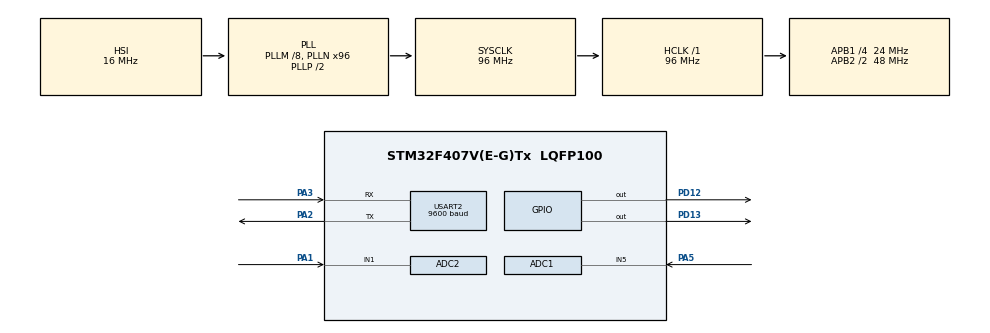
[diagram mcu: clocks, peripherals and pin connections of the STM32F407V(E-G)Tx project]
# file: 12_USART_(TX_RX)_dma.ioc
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ADC1.Channel-0\#ChannelRegularConversion=ADC_CHANNEL_VREFINT
ADC1.Channel-1\#ChannelRegularConversion=ADC_CHANNEL_5
ADC1.Channel-2\#ChannelRegularConversion=ADC_CHANNEL_TEMPSENSOR
ADC1.ClockPrescaler=ADC_CLOCK_SYNC_PCLK_DIV2
ADC1.ContinuousConvMode=ENABLE
ADC1.DMAContinuousRequests=ENABLE
ADC1.DataAlign=ADC_DATAALIGN_RIGHT
ADC1.DiscontinuousConvMode=DISABLE
ADC1.EOCSelection=ADC_EOC_SINGLE_CONV
ADC1.EnableAnalogWatchDog=false
ADC1.ExternalTrigConv=ADC_SOFTWARE_START
ADC1.ExternalTrigConvEdge=ADC_EXTERNALTRIGCONVEDGE_NONE
ADC1.InjNumberOfConversion=0
ADC1.NbrOfConversion=3
ADC1.NbrOfConversionFlag=1
ADC1.Rank-0\#ChannelRegularConversion=1
ADC1.Rank-1\#ChannelRegularConversion=2
ADC1.Rank-2\#ChannelRegularConversion=3
ADC1.Resolution=ADC_RESOLUTION_12B
ADC1.SamplingTime-0\#ChannelRegularConversion=ADC_SAMPLETIME_480CYCLES
ADC1.SamplingTime-1\#ChannelRegularConversion=ADC_SAMPLETIME_480CYCLES
ADC1.SamplingTime-2\#ChannelRegularConversion=ADC_SAMPLETIME_480CYCLES
ADC1.ScanConvMode=ENABLE
ADC1.master=1
ADC2.Channel-0\#ChannelRegularConversion=ADC_CHANNEL_1
ADC2.ContinuousConvMode=ENABLE
ADC2.DMAContinuousRequests=ENABLE
ADC2.NbrOfConversionFlag=1
ADC2.Rank-0\#ChannelRegularConversion=1
ADC2.SamplingTime-0\#ChannelRegularConversion=ADC_SAMPLETIME_480CYCLES
Dma.ADC1.3.Direction=DMA_PERIPH_TO_MEMORY
Dma.ADC1.3.FIFOMode=DMA_FIFOMODE_DISABLE
Dma.ADC1.3.Instance=DMA2_Stream0
Dma.ADC1.3.MemDataAlignment=DMA_MDATAALIGN_HALFWORD
Dma.ADC1.3.MemInc=DMA_MINC_ENABLE
Dma.ADC1.3.Mode=DMA_CIRCULAR
Dma.ADC1.3.PeriphDataAlignment=DMA_PDATAALIGN_HALFWORD
Dma.ADC1.3.PeriphInc=DMA_PINC_DISABLE
Dma.ADC1.3.Priority=DMA_PRIORITY_LOW
Dma.ADC2.0.Direction=DMA_PERIPH_TO_MEMORY
Dma.ADC2.0.FIFOMode=DMA_FIFOMODE_DISABLE
Dma.ADC2.0.Instance=DMA2_Stream2
Dma.ADC2.0.MemDataAlignment=DMA_MDATAALIGN_HALFWORD
Dma.ADC2.0.MemInc=DMA_MINC_ENABLE
Dma.ADC2.0.Mode=DMA_CIRCULAR
Dma.ADC2.0.PeriphDataAlignment=DMA_PDATAALIGN_HALFWORD
Dma.ADC2.0.PeriphInc=DMA_PINC_DISABLE
Dma.ADC2.0.Priority=DMA_PRIORITY_LOW
Dma.Request0=ADC2
Dma.Request1=USART2_RX
Dma.Request2=USART2_TX
Dma.Request3=ADC1
Dma.USART2_RX.1.Direction=DMA_PERIPH_TO_MEMORY
Dma.USART2_RX.1.FIFOMode=DMA_FIFOMODE_DISABLE
Dma.USART2_RX.1.Instance=DMA1_Stream5
Dma.USART2_RX.1.MemDataAlignment=DMA_MDATAALIGN_BYTE
Dma.USART2_RX.1.MemInc=DMA_MINC_ENABLE
Dma.USART2_RX.1.Mode=DMA_CIRCULAR
Dma.USART2_RX.1.PeriphDataAlignment=DMA_PDATAALIGN_BYTE
Dma.USART2_RX.1.PeriphInc=DMA_PINC_DISABLE
Dma.USART2_RX.1.Priority=DMA_PRIORITY_LOW
Dma.USART2_TX.2.Direction=DMA_MEMORY_TO_PERIPH
Dma.USART2_TX.2.FIFOMode=DMA_FIFOMODE_DISABLE
Dma.USART2_TX.2.Instance=DMA1_Stream6
Dma.USART2_TX.2.MemDataAlignment=DMA_MDATAALIGN_BYTE
Dma.USART2_TX.2.MemInc=DMA_MINC_ENABLE
Dma.USART2_TX.2.Mode=DMA_CIRCULAR
Dma.USART2_TX.2.PeriphDataAlignment=DMA_PDATAALIGN_BYTE
Dma.USART2_TX.2.PeriphInc=DMA_PINC_DISABLE
Dma.USART2_TX.2.Priority=DMA_PRIORITY_LOW
Mcu.Family=STM32F4
Mcu.Name=STM32F407V(E-G)Tx
Mcu.Package=LQFP100
NVIC.DMA1_Stream5_IRQn=true\:0\:0\:false\:false\:true\:false
NVIC.DMA1_Stream6_IRQn=true\:0\:0\:false\:false\:true\:false
NVIC.DMA2_Stream0_IRQn=true\:0\:0\:false\:false\:true\:false
NVIC.DMA2_Stream2_IRQn=true\:0\:0\:false\:false\:true\:false
NVIC.PriorityGroup=NVIC_PRIORITYGROUP_4
PA1.Signal=ADCx_IN1
PA13.Mode=Serial_Wire
PA13.Signal=SYS_JTMS-SWDIO
PA14.Mode=Serial_Wire
PA14.Signal=SYS_JTCK-SWCLK
PA2.Mode=Asynchronous
PA2.Signal=USART2_TX
PA3.Mode=Asynchronous
PA3.Signal=USART2_RX
PA5.Signal=ADCx_IN5
PD12.Signal=GPIO_Output
PD13.Signal=GPIO_Output
ProjectManager.HeapSize=0x200
ProjectManager.StackSize=0x400
ProjectManager.TargetToolchain=MDK-ARM V5
RCC.48MHZClocksFreq_Value=48000000
RCC.AHBFreq_Value=96000000
RCC.APB1CLKDivider=RCC_HCLK_DIV4
RCC.APB1Freq_Value=24000000
RCC.APB1TimFreq_Value=48000000
RCC.APB2CLKDivider=RCC_HCLK_DIV2
RCC.APB2Freq_Value=48000000
RCC.APB2TimFreq_Value=96000000
RCC.CortexFreq_Value=96000000
RCC.HCLKFreq_Value=96000000
RCC.HSE_VALUE=25000000
RCC.HSI_VALUE=16000000
RCC.LSE_VALUE=32768
RCC.PLLM=8
RCC.PLLN=96
RCC.SYSCLKFreq_VALUE=96000000
RCC.SYSCLKSource=RCC_SYSCLKSOURCE_PLLCLK
RCC.VCOOutputFreq_Value=192000000
SH.ADCx_IN1.0=ADC2_IN1,IN1
SH.ADCx_IN5.0=ADC1_IN5,IN5
USART2.BaudRate=9600
USART2.VirtualMode=VM_ASYNC
VP_ADC1_TempSens_Input.Mode=IN-TempSens
VP_ADC1_Vref_Input.Mode=IN-Vrefint
board=12_USART_(TX_RX)_dma

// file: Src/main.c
/**
  ******************************************************************************
  * File Name          : main.c
  * Description        : Main program body
  ******************************************************************************
  ** This notice applies to any and all portions of this file
  * that are not between comment pairs USER CODE BEGIN and
  * USER CODE END. Other portions of this file, whether
  * inserted by the user or by software development tools
  * are owned by their respective copyright owners.
  *
  * COPYRIGHT(c) 2018 STMicroelectronics
  *
  * Redistribution and use in source and binary forms, with or without modification,
  * are permitted provided that the following conditions are met:
  *   1. Redistributions of source code must retain the above copyright notice,
  *      this list of conditions and the following disclaimer.
  *   2. Redistributions in binary form must reproduce the above copyright notice,
  *      this list of conditions and the following disclaimer in the documentation
  *      and/or other materials provided with the distribution.
  *   3. Neither the name of STMicroelectronics nor the names of its contributors
  *      may be used to endorse or promote products derived from this software
  *      without specific prior written permission.
  *
  * THIS SOFTWARE IS PROVIDED BY THE COPYRIGHT HOLDERS AND CONTRIBUTORS "AS IS"
  * AND ANY EXPRESS OR IMPLIED WARRANTIES, INCLUDING, BUT NOT LIMITED TO, THE
  * IMPLIED WARRANTIES OF MERCHANTABILITY AND FITNESS FOR A PARTICULAR PURPOSE ARE
  * DISCLAIMED. IN NO EVENT SHALL THE COPYRIGHT HOLDER OR CONTRIBUTORS BE LIABLE
  * FOR ANY DIRECT, INDIRECT, INCIDENTAL, SPECIAL, EXEMPLARY, OR CONSEQUENTIAL
  * DAMAGES (INCLUDING, BUT NOT LIMITED TO, PROCUREMENT OF SUBSTITUTE GOODS OR
  * SERVICES; LOSS OF USE, DATA, OR PROFITS; OR BUSINESS INTERRUPTION) HOWEVER
  * CAUSED AND ON ANY THEORY OF LIABILITY, WHETHER IN CONTRACT, STRICT LIABILITY,
  * OR TORT (INCLUDING NEGLIGENCE OR OTHERWISE) ARISING IN ANY WAY OUT OF THE USE
  * OF THIS SOFTWARE, EVEN IF ADVISED OF THE POSSIBILITY OF SUCH DAMAGE.
  *
  ******************************************************************************
  */
#include "main.h"
#include "stm32f4xx_hal.h"

/* USER CODE BEGIN Includes */
//  ADC KISMI
#define VREFIN_Cal ((uint16_t*)((uint32_t)0x1FFF7A2A)) // Vrefin calibration degeri memoriden okunur
#define V25 (float)0.76     // volt
#define avg_slope (float) 0.0025   //    volt/Centigrade

uint16_t adc1_data[3],adc2_data[1];

float Vref=0,Vadc1_ch5=0,Vsense=0, temperature=0,Vadc2_ch1=0;

// USART KISMI

int i=0; // data1,2 ... diye göstermek için
char deger[40];  // tx_buffer
char rx[6],a,b,c,d,e,f; // rx ise de rx_buffer

/* USER CODE END Includes */

ADC_HandleTypeDef hadc1;
ADC_HandleTypeDef hadc2;
DMA_HandleTypeDef hdma_adc1;
DMA_HandleTypeDef hdma_adc2;

UART_HandleTypeDef huart2;
DMA_HandleTypeDef hdma_usart2_rx;
DMA_HandleTypeDef hdma_usart2_tx;

/* USER CODE BEGIN PV */
/* Private variables ---------------------------------------------------------*/

/* USER CODE END PV */

void SystemClock_Config(void);
static void MX_GPIO_Init(void);
static void MX_DMA_Init(void);
static void MX_ADC1_Init(void);
static void MX_ADC2_Init(void);
static void MX_USART2_UART_Init(void);

/* USER CODE BEGIN PFP */
/* Private function prototypes -----------------------------------------------*/
void HAL_ADC_ConvCpltCallback(ADC_HandleTypeDef* hadc)
{

    Vref=(float)3.3*(*VREFIN_Cal)/adc1_data[0];
	  Vadc1_ch5=Vref*adc1_data[1]/4095;
	  Vsense=Vref*adc1_data[2]/4095;
    Vadc2_ch1=Vref*adc2_data[0]/4095;

		temperature=(Vsense-V25)/avg_slope+25;

}

void HAL_UART_TxCpltCallback(UART_HandleTypeDef *huart)
{

  HAL_GPIO_TogglePin(GPIOD,GPIO_PIN_12);
	// herbir data aktarildiginda aktif olacak

	i++; // herbir data aktarildiginda artirilacak olacak
	if(i==4) i=0;

	HAL_UART_DMA_Tx_Stop(&huart2); // bu fonkdsyonu biz yazdik
	// eger bu olmasa idi hem rx hem tx stop edilirdi..
	// kodlar   uart... .h ve .c ve mevcut
	// bu kod yazilmasa idi önceden gönderilen veriden bilgilerde gelirdi
	// o yüzden strt ettik gibi bisi......
	// ard arda data göndermede sikinti oldugu için bu kullanildi
	// tek data da sikinti yokta circular oldugu için problem
}

void HAL_UART_RxCpltCallback(UART_HandleTypeDef *huart)
{

   HAL_GPIO_TogglePin(GPIOD,GPIO_PIN_13);

}

/* USER CODE END PFP */

int main(void)
{

  /* MCU Configuration----------------------------------------------------------*/

  /* Reset of all peripherals, Initializes the Flash interface and the Systick. */
  HAL_Init();

  /* Configure the system clock */
  SystemClock_Config();

  /* Initialize all configured peripherals */
  MX_GPIO_Init();
  MX_DMA_Init();
  MX_ADC1_Init();
  MX_ADC2_Init();
  MX_USART2_UART_Init();

  /* USER CODE BEGIN 2 */
  HAL_ADC_Start_DMA(&hadc1,(uint32_t*)adc1_data, 3);
	HAL_ADC_Start_DMA(&hadc2,(uint32_t*)adc2_data, 1);
  /* USER CODE END 2 */

  /* Infinite loop */
  while (1)
  {

		HAL_Delay(1000);

		float value[4];
		value[0]=Vref;
		value[1]=Vadc1_ch5;
		value[2]=Vadc2_ch1;
		value[3]=temperature;

		HAL_UART_Transmit_DMA(&huart2,(uint8_t*)deger,sprintf(deger,"\n%d.value=%4.2f",i+1,value[i]));

		HAL_UART_Receive_DMA(&huart2,(uint8_t*)rx,6);
		// 6 boyutlu dizi ile 6 tane eleman alacagiz....
		HAL_Delay(10);

		a=rx[0];
		b=rx[1];
		c=rx[2];
		d=rx[3];
		e=rx[4];
		f=rx[5];

		if(rx[0]=='1' && rx[1]=='2'&& rx[2]=='3')
		HAL_GPIO_TogglePin(GPIOD,GPIO_PIN_13);

  }

}

/** System Clock Configuration
*/
void SystemClock_Config(void)
{

  RCC_OscInitTypeDef RCC_OscInitStruct;
  RCC_ClkInitTypeDef RCC_ClkInitStruct;

    /**Configure the main internal regulator output voltage
    */
  __HAL_RCC_PWR_CLK_ENABLE();

  __HAL_PWR_VOLTAGESCALING_CONFIG(PWR_REGULATOR_VOLTAGE_SCALE1);

    /**Initializes the CPU, AHB and APB busses clocks
    */
  RCC_OscInitStruct.OscillatorType = RCC_OSCILLATORTYPE_HSI;
  RCC_OscInitStruct.HSIState = RCC_HSI_ON;
  RCC_OscInitStruct.HSICalibrationValue = 16;
  RCC_OscInitStruct.PLL.PLLState = RCC_PLL_ON;
  RCC_OscInitStruct.PLL.PLLSource = RCC_PLLSOURCE_HSI;
  RCC_OscInitStruct.PLL.PLLM = 8;
  RCC_OscInitStruct.PLL.PLLN = 96;
  RCC_OscInitStruct.PLL.PLLP = RCC_PLLP_DIV2;
  RCC_OscInitStruct.PLL.PLLQ = 4;
  if (HAL_RCC_OscConfig(&RCC_OscInitStruct) != HAL_OK)
  {
    _Error_Handler(__FILE__, __LINE__);
  }

    /**Initializes the CPU, AHB and APB busses clocks
    */
  RCC_ClkInitStruct.ClockType = RCC_CLOCKTYPE_HCLK|RCC_CLOCKTYPE_SYSCLK
                              |RCC_CLOCKTYPE_PCLK1|RCC_CLOCKTYPE_PCLK2;
  RCC_ClkInitStruct.SYSCLKSource = RCC_SYSCLKSOURCE_PLLCLK;
  RCC_ClkInitStruct.AHBCLKDivider = RCC_SYSCLK_DIV1;
  RCC_ClkInitStruct.APB1CLKDivider = RCC_HCLK_DIV4;
  RCC_ClkInitStruct.APB2CLKDivider = RCC_HCLK_DIV2;

  if (HAL_RCC_ClockConfig(&RCC_ClkInitStruct, FLASH_LATENCY_3) != HAL_OK)
  {
    _Error_Handler(__FILE__, __LINE__);
  }

    /**Configure the Systick interrupt time
    */
  HAL_SYSTICK_Config(HAL_RCC_GetHCLKFreq()/1000);

    /**Configure the Systick
    */
  HAL_SYSTICK_CLKSourceConfig(SYSTICK_CLKSOURCE_HCLK);

  /* SysTick_IRQn interrupt configuration */
  HAL_NVIC_SetPriority(SysTick_IRQn, 0, 0);
}

/* ADC1 init function */
static void MX_ADC1_Init(void)
{

  ADC_ChannelConfTypeDef sConfig;

    /**Configure the global features of the ADC (Clock, Resolution, Data Alignment and number of conversion)
    */
  hadc1.Instance = ADC1;
  hadc1.Init.ClockPrescaler = ADC_CLOCK_SYNC_PCLK_DIV2;
  hadc1.Init.Resolution = ADC_RESOLUTION_12B;
  hadc1.Init.ScanConvMode = ENABLE;
  hadc1.Init.ContinuousConvMode = ENABLE;
  hadc1.Init.DiscontinuousConvMode = DISABLE;
  hadc1.Init.ExternalTrigConvEdge = ADC_EXTERNALTRIGCONVEDGE_NONE;
  hadc1.Init.ExternalTrigConv = ADC_SOFTWARE_START;
  hadc1.Init.DataAlign = ADC_DATAALIGN_RIGHT;
  hadc1.Init.NbrOfConversion = 3;
  hadc1.Init.DMAContinuousRequests = ENABLE;
  hadc1.Init.EOCSelection = ADC_EOC_SINGLE_CONV;
  if (HAL_ADC_Init(&hadc1) != HAL_OK)
  {
    _Error_Handler(__FILE__, __LINE__);
  }

    /**Configure for the selected ADC regular channel its corresponding rank in the sequencer and its sample time.
    */
  sConfig.Channel = ADC_CHANNEL_VREFINT;
  sConfig.Rank = 1;
  sConfig.SamplingTime = ADC_SAMPLETIME_480CYCLES;
  if (HAL_ADC_ConfigChannel(&hadc1, &sConfig) != HAL_OK)
  {
    _Error_Handler(__FILE__, __LINE__);
  }

    /**Configure for the selected ADC regular channel its corresponding rank in the sequencer and its sample time.
    */
  sConfig.Channel = ADC_CHANNEL_5;
  sConfig.Rank = 2;
  if (HAL_ADC_ConfigChannel(&hadc1, &sConfig) != HAL_OK)
  {
    _Error_Handler(__FILE__, __LINE__);
  }

    /**Configure for the selected ADC regular channel its corresponding rank in the sequencer and its sample time.
    */
  sConfig.Channel = ADC_CHANNEL_TEMPSENSOR;
  sConfig.Rank = 3;
  if (HAL_ADC_ConfigChannel(&hadc1, &sConfig) != HAL_OK)
  {
    _Error_Handler(__FILE__, __LINE__);
  }

}

/* ADC2 init function */
static void MX_ADC2_Init(void)
{

  ADC_ChannelConfTypeDef sConfig;

    /**Configure the global features of the ADC (Clock, Resolution, Data Alignment and number of conversion)
    */
  hadc2.Instance = ADC2;
  hadc2.Init.ClockPrescaler = ADC_CLOCK_SYNC_PCLK_DIV2;
  hadc2.Init.Resolution = ADC_RESOLUTION_12B;
  hadc2.Init.ScanConvMode = DISABLE;
  hadc2.Init.ContinuousConvMode = ENABLE;
  hadc2.Init.DiscontinuousConvMode = DISABLE;
  hadc2.Init.ExternalTrigConvEdge = ADC_EXTERNALTRIGCONVEDGE_NONE;
  hadc2.Init.ExternalTrigConv = ADC_SOFTWARE_START;
  hadc2.Init.DataAlign = ADC_DATAALIGN_RIGHT;
  hadc2.Init.NbrOfConversion = 1;
  hadc2.Init.DMAContinuousRequests = ENABLE;
  hadc2.Init.EOCSelection = ADC_EOC_SINGLE_CONV;
  if (HAL_ADC_Init(&hadc2) != HAL_OK)
  {
    _Error_Handler(__FILE__, __LINE__);
  }

    /**Configure for the selected ADC regular channel its corresponding rank in the sequencer and its sample time.
    */
  sConfig.Channel = ADC_CHANNEL_1;
  sConfig.Rank = 1;
  sConfig.SamplingTime = ADC_SAMPLETIME_480CYCLES;
  if (HAL_ADC_ConfigChannel(&hadc2, &sConfig) != HAL_OK)
  {
    _Error_Handler(__FILE__, __LINE__);
  }

}

/* USART2 init function */
static void MX_USART2_UART_Init(void)
{

  huart2.Instance = USART2;
  huart2.Init.BaudRate = 9600;
  huart2.Init.WordLength = UART_WORDLENGTH_8B;
  huart2.Init.StopBits = UART_STOPBITS_1;
  huart2.Init.Parity = UART_PARITY_NONE;
  huart2.Init.Mode = UART_MODE_TX_RX;
  huart2.Init.HwFlowCtl = UART_HWCONTROL_NONE;
  huart2.Init.OverSampling = UART_OVERSAMPLING_16;
  if (HAL_UART_Init(&huart2) != HAL_OK)
  {
    _Error_Handler(__FILE__, __LINE__);
  }

}

static void MX_DMA_Init(void)
{
  /* DMA controller clock enable */
  __HAL_RCC_DMA2_CLK_ENABLE();
  __HAL_RCC_DMA1_CLK_ENABLE();

  /* DMA interrupt init */
  /* DMA1_Stream5_IRQn interrupt configuration */
  HAL_NVIC_SetPriority(DMA1_Stream5_IRQn, 0, 0);
  HAL_NVIC_EnableIRQ(DMA1_Stream5_IRQn);
  /* DMA1_Stream6_IRQn interrupt configuration */
  HAL_NVIC_SetPriority(DMA1_Stream6_IRQn, 0, 0);
  HAL_NVIC_EnableIRQ(DMA1_Stream6_IRQn);
  /* DMA2_Stream0_IRQn interrupt configuration */
  HAL_NVIC_SetPriority(DMA2_Stream0_IRQn, 0, 0);
  HAL_NVIC_EnableIRQ(DMA2_Stream0_IRQn);
  /* DMA2_Stream2_IRQn interrupt configuration */
  HAL_NVIC_SetPriority(DMA2_Stream2_IRQn, 0, 0);
  HAL_NVIC_EnableIRQ(DMA2_Stream2_IRQn);

}

/** Configure pins as
        * Analog
        * Input
        * Output
        * EVENT_OUT
        * EXTI
*/
static void MX_GPIO_Init(void)
{

  GPIO_InitTypeDef GPIO_InitStruct;

  /* GPIO Ports Clock Enable */
  __HAL_RCC_GPIOA_CLK_ENABLE();
  __HAL_RCC_GPIOD_CLK_ENABLE();

  /*Configure GPIO pin Output Level */
  HAL_GPIO_WritePin(GPIOD, GPIO_PIN_12|GPIO_PIN_13, GPIO_PIN_RESET);

  /*Configure GPIO pins : PD12 PD13 */
  GPIO_InitStruct.Pin = GPIO_PIN_12|GPIO_PIN_13;
  GPIO_InitStruct.Mode = GPIO_MODE_OUTPUT_PP;
  GPIO_InitStruct.Pull = GPIO_NOPULL;
  GPIO_InitStruct.Speed = GPIO_SPEED_FREQ_LOW;
  HAL_GPIO_Init(GPIOD, &GPIO_InitStruct);

}

void _Error_Handler(char * file, int line)
{
  while(1)
  {
  }
}

/************************ (C) COPYRIGHT STMicroelectronics *****END OF FILE****/
